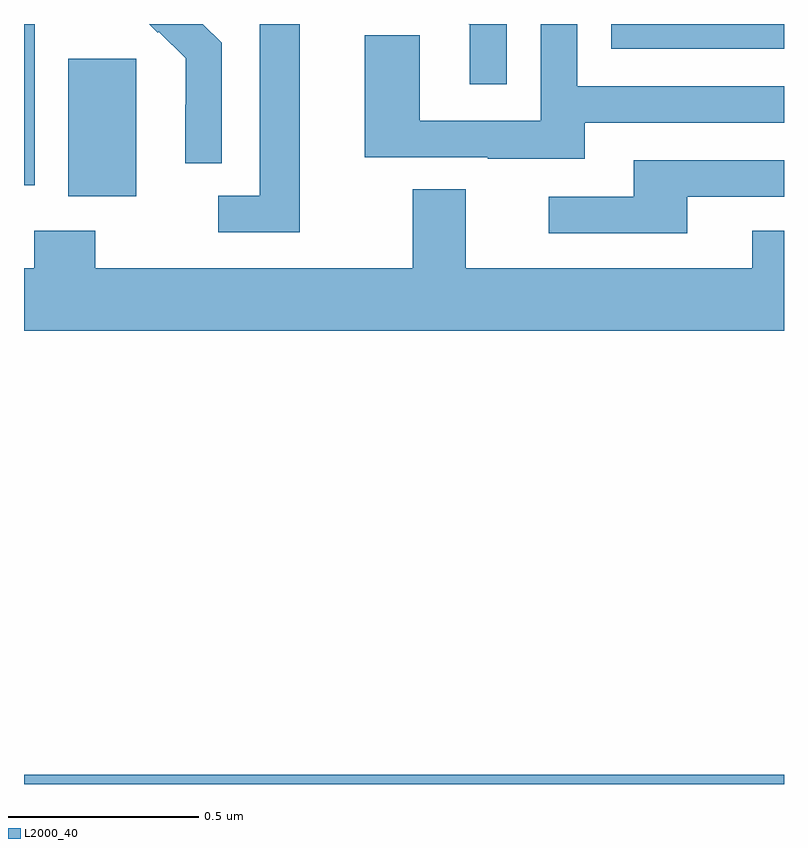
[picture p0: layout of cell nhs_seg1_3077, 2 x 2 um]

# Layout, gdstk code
import gdstk
lib = gdstk.Library(unit=1e-6, precision=1e-09)
def R(c, l, rs):  # rectangles x0, y0, x1, y1
    for r in rs: c.add(gdstk.rectangle(r[:2], r[2:], *l))
def P(c, l, *ps):  # polygons
    for p in ps: c.add(gdstk.Polygon(p, *l))
L2000_40 = (2000, 40)

nhs_seg1_3077 = lib.new_cell('nhs_seg1_3077')
R(nhs_seg1_3077, L2000_40, [(149,557.199,151,557.224), (149.117,558.746,149.296,559.107), (149,558.775,149.028,559.199), (150.546,559.134,151,559.199)])
P(nhs_seg1_3077, L2000_40, [(150.475,558.939),(151,558.939),(151,559.035),(150.456,559.035),(150.456,559.199),(150.36,559.199),(150.36,558.945),(150.042,558.945),(150.042,559.169),(149.897,559.169),(149.897,558.849),(150.221,558.849),(150.221,558.845),(150.475,558.845)],
  [(149.725,559.199),(149.621,559.199),(149.621,558.747),(149.511,558.747),(149.511,558.651),(149.725,558.651)],
  [(150.27,559.199),(150.171,559.199),(150.173,559.197),(150.173,559.041),(150.27,559.041)],
  [(149.52,559.15),(149.471,559.199),(149.329,559.199),(149.352,559.176),(149.355,559.179),(149.426,559.109),(149.426,558.986),(149.424,558.986),(149.424,558.832),(149.52,558.832)],
  [(150.745,558.744),(151,558.744),(151,558.84),(150.605,558.84),(150.605,558.744),(150.381,558.744),(150.381,558.648),(150.745,558.648)],
  [(151,558.655),(150.917,558.655),(150.917,558.556),(150.163,558.556),(150.163,558.764),(150.023,558.764),(150.023,558.556),(149.187,558.556),(149.187,558.655),(149.027,558.655),(149.027,558.556),(149,558.556),(149,558.392),(151,558.392)])

lib.write_gds('nhs_seg1_3077.gds')
